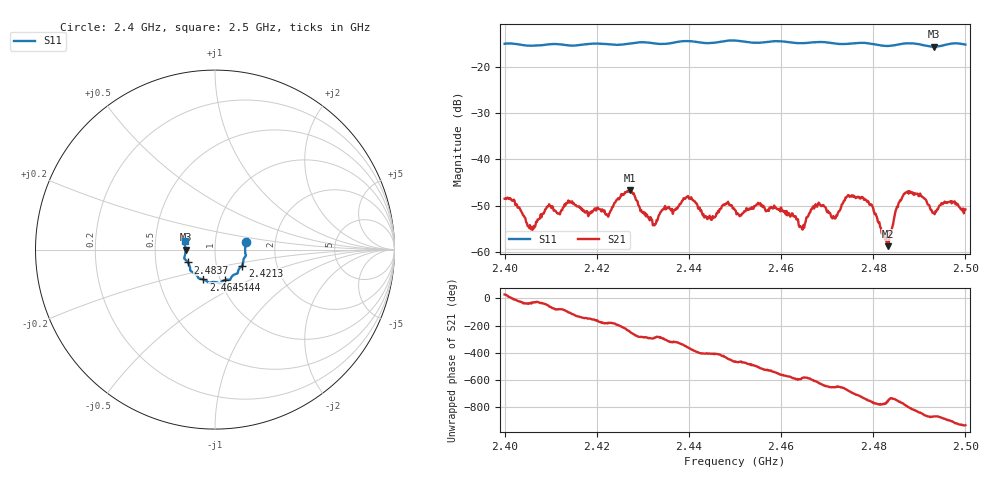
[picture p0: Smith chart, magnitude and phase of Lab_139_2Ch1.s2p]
# Hz S RI R 50
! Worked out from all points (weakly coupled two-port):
!   601 points, 2.4 GHz to 2.5 GHz, reference 50 ohm
!   highest |S21| = -46.71 dB at 2.4272 GHz (marker M1); lowest = -58.7 dB at 2.4832 GHz (marker M2)
!   lowest |S11| = -15.7 dB at 2.4932 GHz (marker M3), VSWR 1.39, Z = 35.9 - j0.0511 ohm
!   |S11| at or under -10 dB: start of sweep to end of sweep
!   S12 and S22 are empty: the file has one direction only
!   S11 on the Smith chart (normalised r, x): 2.4 GHz: 1.41, +0.12; 2.4213 GHz: 1.33, -0.25; 2.444 GHz: 1.06, -0.37; 2.4645 GHz: 0.83, -0.29; 2.4837 GHz: 0.73, -0.11; 2.5 GHz: 0.71, +0.07
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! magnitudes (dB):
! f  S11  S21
! 2.4 GHz  -15.1  -48.5
! 2.4057 GHz  -15.5  -55.1
! 2.4095 GHz  -15.2  -50.1
! 2.4167 GHz  -15.3  -50.9
! 2.4213 GHz  -15.1  -51.1
! 2.4272 GHz  -15.0  -46.7
! 2.4333 GHz  -15.1  -52.5
! 2.44 GHz  -14.5  -48.5
! 2.444 GHz  -15.0  -52.9
! 2.45 GHz  -14.4  -51.0
! 2.4588 GHz  -14.5  -50.4
! 2.4645 GHz  -15.0  -54.9
! 2.4667 GHz  -14.8  -50.7
! 2.4713 GHz  -15.0  -52.2
! 2.4745 GHz  -15.1  -47.8
! 2.478 GHz  -14.9  -48.7
! 2.4832 GHz  -15.6  -58.7
! 2.4833 GHz  -15.6  -58.2
! 2.4837 GHz  -15.5  -55.9
! 2.487 GHz  -15.0  -47.2
! 2.4932 GHz  -15.7  -51.6
! 2.5 GHz  -15.3  -50.8
